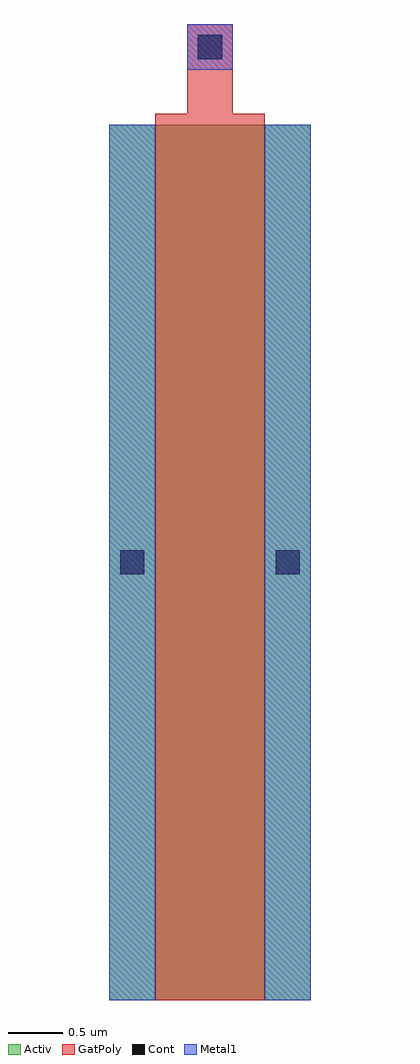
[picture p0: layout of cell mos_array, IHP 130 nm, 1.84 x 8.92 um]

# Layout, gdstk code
import gdstk
lib = gdstk.Library(unit=1e-6, precision=1e-09)
def R(c, l, rs):  # rectangles x0, y0, x1, y1
    for r in rs: c.add(gdstk.rectangle(r[:2], r[2:], *l))
Activ = (1, 0)
GatPoly = (5, 0)
Cont = (6, 0)
Metal1 = (8, 0)

mos_array = lib.new_cell('mos_array')
R(mos_array, Activ, [(0,0,1.84,8)])
R(mos_array, GatPoly, [(0.42,0,1.42,8), (0.42,8,1.42,8.1), (0.71,8.1,1.13,8.92)])
R(mos_array, Cont, [(0.1,3.89,0.32,4.11), (1.52,3.89,1.74,4.11), (0.81,8.6,1.03,8.82)])
R(mos_array, Metal1, [(0,0,0.42,8), (1.42,0,1.84,8), (0.71,8.5,1.13,8.92)])

lib.write_gds('mos_array.gds')
